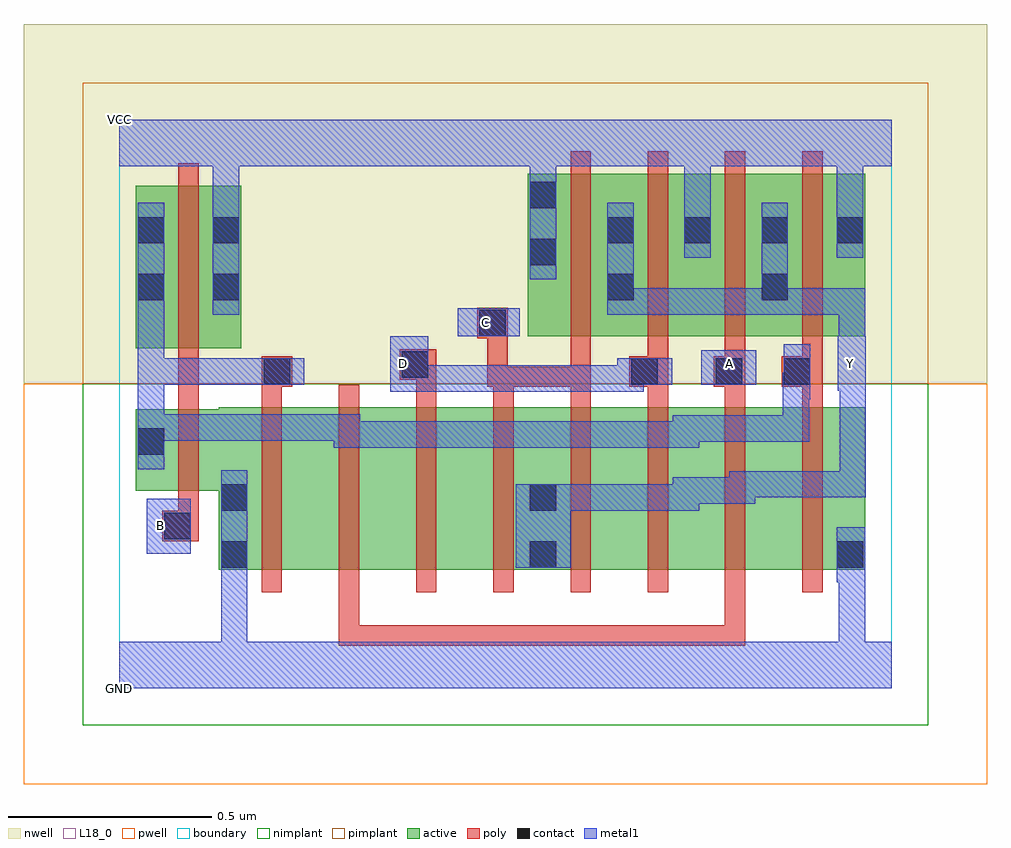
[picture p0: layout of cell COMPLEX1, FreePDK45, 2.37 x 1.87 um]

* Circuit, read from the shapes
.subckt COMPLEX1 A B C D GND VCC Y
M1 GND B n1 VSUBS nfet w=0.2u l=0.05u
M2 n2 n1 GND VSUBS nfet w=0.4u l=0.05u
M3 n3 A n2 VSUBS nfet w=0.4u l=0.05u
M4 n4 D n3 VSUBS nfet w=0.4u l=0.05u
M5 Y C n4 VSUBS nfet w=0.4u l=0.05u
M6 n5 C Y VSUBS nfet w=0.4u l=0.05u
M7 n6 D n5 VSUBS nfet w=0.4u l=0.05u
M8 n7 A n6 VSUBS nfet w=0.4u l=0.05u
M9 GND n1 n7 VSUBS nfet w=0.4u l=0.05u
M10 VCC B n1 n8 pfet w=0.4u l=0.05u
M11 Y C VCC n8 pfet w=0.4u l=0.05u
M12 VCC D Y n8 pfet w=0.4u l=0.05u
M13 Y A VCC n8 pfet w=0.4u l=0.05u
M14 VCC n1 Y n8 pfet w=0.4u l=0.05u
.ends

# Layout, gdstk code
import gdstk
lib = gdstk.Library(unit=1e-6, precision=1e-09)
def R(c, l, rs):  # rectangles x0, y0, x1, y1
    for r in rs: c.add(gdstk.rectangle(r[:2], r[2:], *l))
def A(c, l, x, y, w, h, nx, ny, dx, dy):  # array of equal rectangles
    R(c, l, [(x+i*dx, y+j*dy, x+i*dx+w, y+j*dy+h) for i in range(nx) for j in range(ny)])
active = (1, 0)
pwell = (2, 0)
nwell = (3, 0)
nimplant = (4, 0)
pimplant = (5, 0)
poly = (9, 0)
contact = (10, 0)
metal1 = (11, 0)
L18_0 = (18, 0)
boundary = (235, 0)

complex1 = lib.new_cell('COMPLEX1')
A(complex1, active, 1.005, 0.867, 0.265, 0.4, 3, 1, 0.19, 0)
R(complex1, active, [(0.245,0.292,0.47,0.692), (0.245,0.292,0.32,0.525), (0.47,0.292,0.66,0.692), (0.66,0.292,0.85,0.692), (0.85,0.292,1.08,0.692), (1.005,0.292,1.23,0.692), (1.005,0.292,1.08,0.617), (1.23,0.292,1.42,0.692), (1.42,0.292,1.61,0.692), (1.61,0.292,1.835,0.692), (1.76,0.292,1.835,0.692), (0.04,0.487,0.32,0.687), (0.04,0.487,0.115,0.687), (0.04,0.837,0.3,1.237), (0.04,0.837,0.115,1.2), (0.225,0.837,0.3,1.205), (1.005,0.867,1.08,1.252), (1.575,0.867,1.835,1.267), (1.76,0.867,1.835,1.205), (1.195,0.907,1.27,1.2), (1.385,0.907,1.46,1.205), (1.575,0.907,1.65,1.2)])
R(complex1, pwell, [(-0.235,-0.235,2.135,0.75)])
R(complex1, nwell, [(-0.235,0.75,2.135,1.635)])
R(complex1, nimplant, [(-0.09,-0.09,1.99,0.75)])
R(complex1, pimplant, [(-0.09,0.75,1.99,1.49)])
A(complex1, poly, 0.35, 0.237, 0.05, 0.51, 8, 1, 0.19, 0)
A(complex1, poly, 0.92, 0.697, 0.05, 0.095, 5, 1, 0.19, 0)
A(complex1, poly, 1.3, 0.767, 0.05, 0.095, 3, 1, 0.19, 0)
A(complex1, poly, 1.11, 0.812, 0.05, 0.51, 4, 1, 0.19, 0)
R(complex1, poly, [(0.54,0.105,0.59,0.287), (0.54,0.105,0.59,0.155), (0.54,0.105,0.59,0.155), (0.54,0.105,0.59,0.155), (0.54,0.105,0.722,0.155), (0.672,0.105,0.722,0.155), (0.672,0.105,0.722,0.155), (0.672,0.105,0.722,0.155), (0.672,0.105,1.027,0.155), (0.977,0.105,1.027,0.155), (0.977,0.105,1.027,0.155), (0.977,0.105,1.027,0.155), (0.977,0.105,1.172,0.155), (1.122,0.105,1.172,0.155), (1.122,0.105,1.305,0.155), (1.255,0.105,1.305,0.155), (1.255,0.105,1.305,0.155), (1.255,0.105,1.305,0.155), (1.255,0.105,1.54,0.155), (1.49,0.105,1.54,0.287), (1.49,0.105,1.54,0.155), (1.49,0.105,1.54,0.155), (1.49,0.105,1.54,0.155), (0.105,0.362,0.195,0.437), (0.145,0.387,0.195,0.482), (0.145,0.432,0.195,0.742), (0.145,0.692,0.195,0.787), (0.35,0.697,0.4,0.792), (0.73,0.697,0.78,0.81), (0.145,0.737,0.195,0.832), (0.145,0.737,0.195,0.787), (0.35,0.742,0.425,0.817), (0.905,0.742,0.955,0.792), (0.905,0.742,0.955,0.792), (0.905,0.742,0.955,0.912), (0.905,0.742,0.97,0.792), (0.92,0.742,0.97,0.792), (0.92,0.742,0.97,0.792), (0.92,0.742,1.16,0.792), (1.11,0.742,1.16,0.792), (1.11,0.742,1.16,0.862), (1.255,0.742,1.35,0.817), (1.462,0.742,1.54,0.817), (1.63,0.742,1.73,0.817), (0.69,0.76,0.78,0.835), (0.145,0.782,0.195,1.292), (0.88,0.862,0.955,0.937)])
A(complex1, contact, 1.2, 1.095, 0.065, 0.065, 3, 1, 0.19, 0)
R(complex1, contact, [(0.25,0.297,0.315,0.362), (1.01,0.297,1.075,0.362), (1.765,0.297,1.83,0.362), (0.11,0.367,0.175,0.432), (0.25,0.437,0.315,0.502), (1.01,0.437,1.075,0.502), (0.045,0.575,0.11,0.64), (0.355,0.747,0.42,0.812), (1.26,0.747,1.325,0.812), (1.467,0.747,1.532,0.812), (1.635,0.747,1.7,0.812), (0.695,0.765,0.76,0.83), (0.885,0.867,0.95,0.932), (0.045,0.955,0.11,1.02), (0.23,0.955,0.295,1.02), (1.2,0.955,1.265,1.02), (1.58,0.955,1.645,1.02), (1.01,1.042,1.075,1.107), (0.045,1.095,0.11,1.16), (0.23,1.095,0.295,1.16), (1.765,1.095,1.83,1.16), (1.01,1.182,1.075,1.247)])
R(complex1, metal1, [(0,0,1.9,0.115), (0.25,0.05,0.315,0.115), (0.25,0.05,0.315,0.115), (0.25,0.05,0.315,0.327), (1.77,0.05,1.835,0.115), (1.77,0.05,1.835,0.115), (1.77,0.05,1.835,0.327), (0.25,0.262,0.315,0.537), (1.765,0.262,1.835,0.397), (0.975,0.297,1.11,0.502), (0.067,0.332,0.175,0.467), (1.045,0.437,1.11,0.502), (1.045,0.437,1.11,0.502), (1.045,0.437,1.29,0.502), (1.225,0.437,1.29,0.502), (1.225,0.437,1.29,0.502), (1.225,0.437,1.29,0.502), (1.225,0.437,1.427,0.502), (1.362,0.437,1.427,0.52), (1.362,0.455,1.427,0.52), (1.362,0.455,1.427,0.52), (1.362,0.455,1.565,0.52), (1.5,0.455,1.565,0.535), (1.5,0.47,1.705,0.535), (1.64,0.47,1.705,0.535), (1.64,0.47,1.837,0.535), (1.772,0.47,1.837,0.535), (1.772,0.47,1.837,0.797), (0.045,0.54,0.11,0.675), (0.527,0.592,0.592,0.657), (0.527,0.592,0.592,0.657), (0.527,0.592,0.73,0.657), (0.527,0.592,0.592,0.675), (0.665,0.592,0.73,0.657), (0.665,0.592,0.902,0.657), (0.837,0.592,0.902,0.657), (0.837,0.592,0.902,0.657), (0.837,0.592,0.902,0.657), (0.837,0.592,1.127,0.657), (1.062,0.592,1.127,0.657), (1.062,0.592,1.127,0.657), (1.062,0.592,1.127,0.657), (1.062,0.592,1.29,0.657), (1.225,0.592,1.29,0.657), (1.225,0.592,1.29,0.657), (1.225,0.592,1.29,0.657), (1.225,0.592,1.427,0.657), (1.362,0.592,1.427,0.657), (1.362,0.592,1.427,0.657), (1.362,0.592,1.427,0.672), (1.362,0.607,1.697,0.672), (1.632,0.607,1.697,0.672), (1.632,0.607,1.697,0.777), (0.045,0.61,0.11,0.675), (0.045,0.61,0.11,0.675), (0.045,0.61,0.247,0.675), (0.045,0.61,0.11,0.812), (0.182,0.61,0.247,0.675), (0.182,0.61,0.452,0.675), (0.387,0.61,0.452,0.675), (0.387,0.61,0.452,0.675), (0.387,0.61,0.452,0.675), (0.387,0.61,0.592,0.675), (1.632,0.712,1.697,0.777), (1.632,0.712,1.7,0.777), (1.635,0.712,1.7,0.847), (0.667,0.73,0.76,0.867), (0.695,0.73,0.76,0.795), (0.695,0.73,0.76,0.795), (0.695,0.73,0.897,0.795), (0.832,0.73,0.897,0.795), (0.832,0.73,1.127,0.795), (1.062,0.73,1.127,0.795), (1.062,0.73,1.127,0.795), (1.062,0.73,1.127,0.795), (1.062,0.73,1.29,0.795), (1.225,0.73,1.29,0.812), (1.767,0.732,1.837,0.867), (1.772,0.732,1.837,0.797), (1.772,0.732,1.837,0.797), (0.045,0.747,0.11,0.812), (0.045,0.747,0.247,0.812), (0.045,0.747,0.11,0.985), (0.182,0.747,0.247,0.812), (0.182,0.747,0.247,0.812), (0.182,0.747,0.247,0.812), (0.182,0.747,0.385,0.812), (0.32,0.747,0.455,0.812), (1.225,0.747,1.29,0.812), (1.225,0.747,1.36,0.812), (1.432,0.747,1.567,0.832), (1.77,0.802,1.835,0.985), (0.832,0.867,0.985,0.935), (0.045,0.92,0.11,1.195), (0.23,0.92,0.295,1.195), (1.2,0.92,1.265,0.985), (1.2,0.92,1.265,0.985), (1.2,0.92,1.265,1.195), (1.2,0.92,1.427,0.985), (1.362,0.92,1.427,0.985), (1.362,0.92,1.427,0.985), (1.362,0.92,1.427,0.985), (1.362,0.92,1.645,0.985), (1.58,0.92,1.835,0.985), (1.58,0.92,1.645,1.195), (1.77,0.92,1.835,0.985), (1.77,0.92,1.835,0.985), (1.77,0.92,1.835,0.985), (1.01,1.007,1.075,1.282), (1.39,1.06,1.455,1.195), (1.765,1.06,1.83,1.195), (0.23,1.13,0.295,1.35), (1.39,1.13,1.455,1.35), (1.765,1.13,1.83,1.35), (1.01,1.217,1.075,1.35), (0,1.285,1.9,1.4)])
R(complex1, L18_0, [(0,0,1.9,0.115), (0.25,0.05,0.315,0.115), (0.25,0.05,0.315,0.115), (0.25,0.05,0.315,0.327), (1.77,0.05,1.835,0.115), (1.77,0.05,1.835,0.115), (1.77,0.05,1.835,0.327), (0.25,0.262,0.315,0.537), (1.765,0.262,1.835,0.397), (0.975,0.297,1.11,0.502), (0.067,0.332,0.175,0.467), (0.067,0.367,0.132,0.432), (1.045,0.437,1.11,0.502), (1.045,0.437,1.11,0.502), (1.045,0.437,1.29,0.502), (1.225,0.437,1.29,0.502), (1.225,0.437,1.29,0.502), (1.225,0.437,1.29,0.502), (1.225,0.437,1.427,0.502), (1.362,0.437,1.427,0.52), (1.362,0.455,1.427,0.52), (1.362,0.455,1.427,0.52), (1.362,0.455,1.565,0.52), (1.5,0.455,1.565,0.535), (1.5,0.47,1.705,0.535), (1.64,0.47,1.705,0.535), (1.64,0.47,1.837,0.535), (1.772,0.47,1.837,0.535), (1.772,0.47,1.837,0.797), (0.667,0.73,0.76,0.867), (0.695,0.73,0.76,0.795), (0.695,0.73,0.76,0.795), (0.695,0.73,0.897,0.795), (0.832,0.73,0.897,0.795), (0.832,0.73,1.127,0.795), (1.062,0.73,1.127,0.795), (1.062,0.73,1.127,0.795), (1.062,0.73,1.127,0.795), (1.062,0.73,1.29,0.795), (1.225,0.73,1.29,0.812), (1.767,0.732,1.837,0.867), (1.772,0.732,1.837,0.797), (1.772,0.732,1.837,0.797), (1.225,0.747,1.29,0.812), (1.225,0.747,1.36,0.812), (1.432,0.747,1.567,0.832), (0.667,0.767,0.732,0.832), (1.467,0.767,1.532,0.832), (1.767,0.767,1.832,0.832), (1.77,0.802,1.835,0.985), (0.832,0.867,0.985,0.935), (0.867,0.867,0.932,0.932), (0.23,0.92,0.295,1.195), (1.2,0.92,1.265,0.985), (1.2,0.92,1.265,0.985), (1.2,0.92,1.265,1.195), (1.2,0.92,1.427,0.985), (1.362,0.92,1.427,0.985), (1.362,0.92,1.427,0.985), (1.362,0.92,1.427,0.985), (1.362,0.92,1.645,0.985), (1.58,0.92,1.645,1.195), (1.58,0.92,1.835,0.985), (1.77,0.92,1.835,0.985), (1.77,0.92,1.835,0.985), (1.77,0.92,1.835,0.985), (1.01,1.007,1.075,1.282), (1.39,1.06,1.455,1.195), (1.765,1.06,1.83,1.195), (0.23,1.13,0.295,1.35), (1.39,1.13,1.455,1.35), (1.765,1.13,1.83,1.35), (1.01,1.217,1.075,1.35), (0,1.285,1.9,1.4)])
R(complex1, boundary, [(0,0,1.9,1.4)])
complex1.add(gdstk.Label('A', (1.5,0.8), layer=11, texttype=0))
complex1.add(gdstk.Label('B', (0.1,0.4), layer=11, texttype=0))
complex1.add(gdstk.Label('C', (0.9,0.9), layer=11, texttype=0))
complex1.add(gdstk.Label('D', (0.7,0.8), layer=11, texttype=0))
complex1.add(gdstk.Label('Y', (1.8,0.8), layer=11, texttype=0))
complex1.add(gdstk.Label('VCC', (0,1.4), layer=11, texttype=0))
complex1.add(gdstk.Label('GND', (0,0), layer=11, texttype=0))

lib.write_gds('COMPLEX1.gds')
